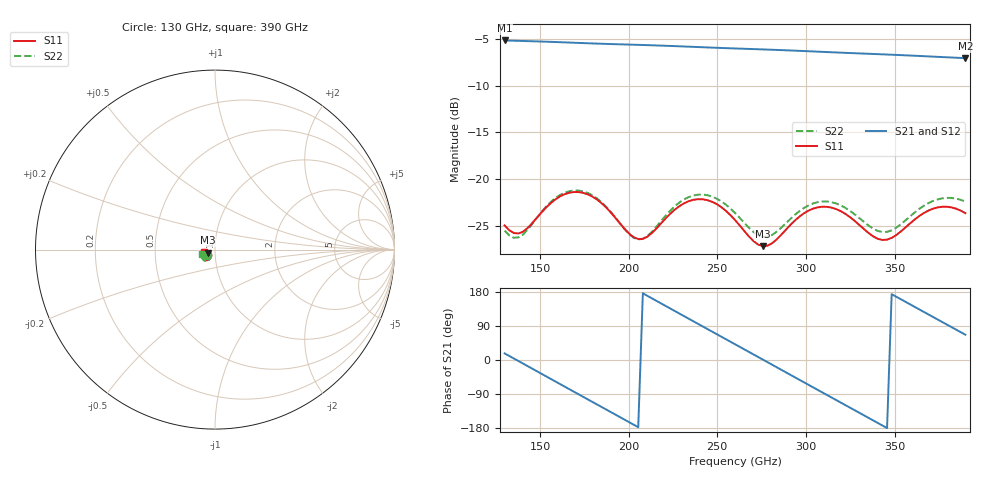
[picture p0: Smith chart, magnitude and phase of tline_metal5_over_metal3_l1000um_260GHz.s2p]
#  GHZ S DB R 50
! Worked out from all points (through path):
!   101 points, 130 GHz to 390 GHz, reference 50 ohm
!   highest |S21| = -5.15 dB at 130 GHz (marker M1); lowest = -7.1 dB at 390 GHz (marker M2)
!   group delay of S21, straight-line fit = 7.17 ps
!   lowest |S11| = -27.2 dB at 275.6 GHz (marker M3), VSWR 1.09, Z = 46.1 - j1.61 ohm
!   |S11| at or under -10 dB: start of sweep to end of sweep
!   |S22| runs from -26.5 to -21.2 dB; largest |S21 - S12| = 8.3e-13
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130  -24.99 -146.8  -5.15 17.4  -5.15 17.4  -25.54 -145.2
137.8  -25.85 -134.7  -5.20 -2.7  -5.20 -2.7  -26.27 -130.7
148.2  -24.16 -123.9  -5.25 -29.6  -5.25 -29.6  -24.17 -119.4
161.2  -21.88 -131.6  -5.34 -63.3  -5.34 -63.3  -21.72 -128.2
174.2  -21.48 -147.6  -5.44 -96.8  -5.44 -96.8  -21.33 -144.8
184.6  -22.58 -159.0  -5.51 -123.7  -5.51 -123.7  -22.48 -156.3
197.6  -25.33 -161.1  -5.58 -157.2  -5.58 -157.2  -25.36 -157.8
208  -26.42 -146.5  -5.64 175.9  -5.64 175.9  -26.42 -141.3
218.4  -24.74 -136.3  -5.71 149.0  -5.71 149.0  -24.48 -130.5
228.8  -22.89 -140.6  -5.78 122.1  -5.78 122.1  -22.50 -134.9
239.2  -22.17 -151.4  -5.86 95.2  -5.86 95.2  -21.68 -145.8
249.6  -22.69 -163.0  -5.94 68.4  -5.94 68.4  -22.10 -157.2
260  -24.40 -170.0  -6.01 41.6  -6.01 41.6  -23.64 -164.2
275.6  -27.21 -156.5  -6.11 1.4  -6.11 1.4  -26.20 -153.0
288.6  -25.47 -141.1  -6.21 -32.2  -6.21 -32.2  -24.77 -138.8
304.2  -23.17 -148.6  -6.33 -72.5  -6.33 -72.5  -22.62 -145.1
322.4  -23.76 -164.5  -6.48 -119.4  -6.48 -119.4  -23.11 -159.9
335.4  -25.80 -164.9  -6.58 -152.8  -6.58 -152.8  -25.00 -160.0
348.4  -26.32 -150.1  -6.68 173.7  -6.68 173.7  -25.50 -145.9
358.8  -24.76 -144.4  -6.77 146.9  -6.77 146.9  -24.01 -139.7
371.8  -23.18 -151.0  -6.89 113.4  -6.89 113.4  -22.35 -145.0
390  -23.66 -166.5  -7.05 66.7  -7.05 66.7  -22.42 -159.0
